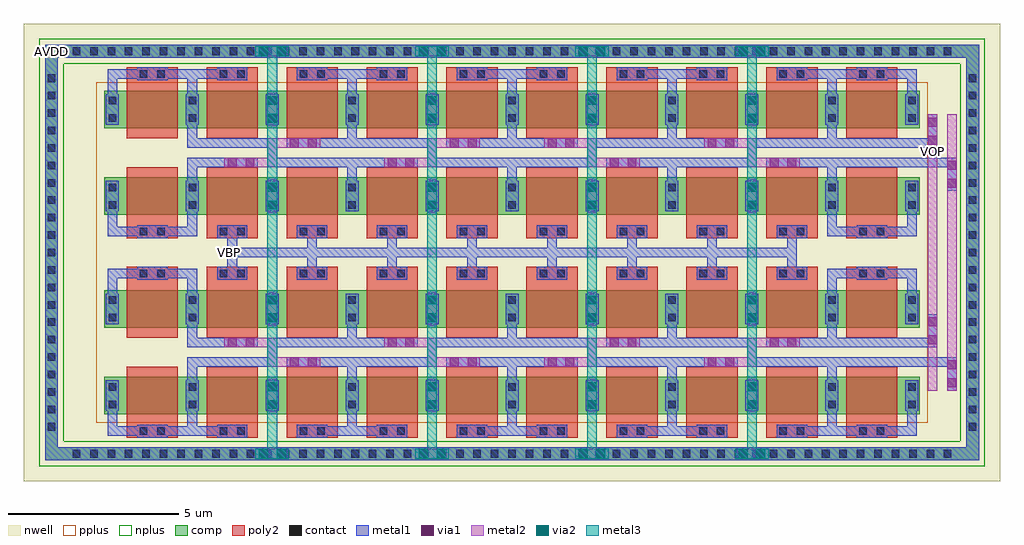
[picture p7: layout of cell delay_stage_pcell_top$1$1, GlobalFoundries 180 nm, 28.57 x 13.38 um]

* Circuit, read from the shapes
.subckt delay_stage_pcell_top$1$1 AVDD VBP VON VOP
XM1 VON VON VON AVDD pfet_03v3 w=1.1u l=1.5u m=4
XM2 VOP VOP VOP AVDD pfet_03v3 w=1.1u l=1.5u m=4
XM3 AVDD VON VON AVDD pfet_03v3 w=1.1u l=1.5u m=8
XM4 AVDD VBP VOP AVDD pfet_03v3 w=1.1u l=1.5u m=8
XM5 AVDD VBP VON AVDD pfet_03v3 w=1.1u l=1.5u m=8
XM6 AVDD VOP VOP AVDD pfet_03v3 w=1.1u l=1.5u m=8
.ends

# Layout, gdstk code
from math import pi, radians
import gdstk
lib = gdstk.Library(unit=1e-6, precision=5e-09)
def R(c, l, rs):  # rectangles x0, y0, x1, y1
    for r in rs: c.add(gdstk.rectangle(r[:2], r[2:], *l))
def A(c, l, x, y, w, h, nx, ny, dx, dy):  # array of equal rectangles
    R(c, l, [(x+i*dx, y+j*dy, x+i*dx+w, y+j*dy+h) for i in range(nx) for j in range(ny)])
nwell = (21, 0)
comp = (22, 0)
poly2 = (30, 0)
pplus = (31, 0)
nplus = (32, 0)
contact = (33, 0)
metal1 = (34, 0)
via1 = (35, 0)
metal2 = (36, 0)
via2 = (38, 0)
metal3 = (42, 0)

delay_stage_pcell_1_1_1_ = lib.new_cell('delay_stage_pcell_1$1$1$1$1')
R(delay_stage_pcell_1_1_1_, comp, [(0.17,0.3,0.63,1.4), (0.63,0.3,2.51,1.4), (2.51,0.3,2.97,1.4)])
R(delay_stage_pcell_1_1_1_, poly2, [(0.82,0,2.32,1.7)])
R(delay_stage_pcell_1_1_1_, contact, [(0.29,0.485,0.51,0.705), (2.63,0.485,2.85,0.705), (0.29,0.995,0.51,1.215), (2.63,0.995,2.85,1.215)])
R(delay_stage_pcell_1_1_1_, metal1, [(0.21,0.405,0.59,1.295), (2.55,0.405,2.93,1.295)])

delay_stage_pcell_1_4_1_ = lib.new_cell('delay_stage_pcell_1_4$1$1$1')
R(delay_stage_pcell_1_4_1_, poly2, [(0.65,0,2.15,0.38), (0.65,4.62,2.15,5), (0.65,5.84,2.15,6.22), (0.65,10.46,2.15,10.84)])
R(delay_stage_pcell_1_4_1_, contact, [(1.035,0.08,1.255,0.3), (1.545,0.08,1.765,0.3), (1.035,4.7,1.255,4.92), (1.545,4.7,1.765,4.92), (1.035,5.92,1.255,6.14), (1.545,5.92,1.765,6.14), (1.035,10.54,1.255,10.76), (1.545,10.54,1.765,10.76)])
R(delay_stage_pcell_1_4_1_, metal1, [(0.955,0,1.845,0.38), (0.955,4.62,1.845,5), (0.955,5.84,1.845,6.22), (0.955,10.46,1.845,10.84)])
delay_stage_pcell_1_4_1_.add(gdstk.FlexPath([(2.57,10.055),(2.57,10.65),(0.23,10.65),(0.23,10.055)], 0.28, ends="flush", simple_path=True, layer=34, datatype=0))  # metal1
delay_stage_pcell_1_4_1_.add(gdstk.FlexPath([(2.57,0.785),(2.57,0.19),(0.23,0.19),(0.23,0.785)], 0.28, ends="flush", simple_path=True, layer=34, datatype=0))  # metal1
delay_stage_pcell_1_4_1_.add(gdstk.FlexPath([(2.57,6.625),(2.57,6.03),(0.23,6.03),(0.23,6.625)], 0.28, ends="flush", simple_path=True, layer=34, datatype=0))  # metal1
delay_stage_pcell_1_4_1_.add(gdstk.FlexPath([(2.57,4.215),(2.57,4.81),(0.23,4.81),(0.23,4.215)], 0.28, ends="flush", simple_path=True, layer=34, datatype=0))  # metal1
delay_stage_pcell_1_4_1_.add(gdstk.Reference(delay_stage_pcell_1_1_1_, (-0.17,6.22)))
delay_stage_pcell_1_4_1_.add(gdstk.Reference(delay_stage_pcell_1_1_1_, (-0.17,0.38)))
delay_stage_pcell_1_4_1_.add(gdstk.Reference(delay_stage_pcell_1_1_1_, (-0.17,2.92)))
delay_stage_pcell_1_4_1_.add(gdstk.Reference(delay_stage_pcell_1_1_1_, (-0.17,8.76)))

delay_stage_pcell_1_2_1_ = lib.new_cell('delay_stage_pcell_1$2$1$1$1$1')
R(delay_stage_pcell_1_2_1_, comp, [(0.17,0.3,0.63,1.4), (0.63,0.3,2.51,1.4), (2.51,0.3,2.97,1.4)])
R(delay_stage_pcell_1_2_1_, poly2, [(0.82,0,2.32,1.7)])
R(delay_stage_pcell_1_2_1_, contact, [(0.29,0.485,0.51,0.705), (2.63,0.485,2.85,0.705), (0.29,0.995,0.51,1.215), (2.63,0.995,2.85,1.215)])
R(delay_stage_pcell_1_2_1_, metal1, [(0.21,0.405,0.59,1.295), (2.55,0.405,2.93,1.295)])

delay_stage_pcell_4_2_1_ = lib.new_cell('delay_stage_pcell_4$2$1$1$1')
delay_stage_pcell_4_2_1_.add(gdstk.Reference(delay_stage_pcell_1_2_1_, (-0.17,0)))
delay_stage_pcell_4_2_1_.add(gdstk.Reference(delay_stage_pcell_1_2_1_, (2.17,0)))
delay_stage_pcell_4_2_1_.add(gdstk.Reference(delay_stage_pcell_1_2_1_, (4.51,0)))
delay_stage_pcell_4_2_1_.add(gdstk.Reference(delay_stage_pcell_1_2_1_, (6.85,0)))

delay_stage_pcell_4_4_1_ = lib.new_cell('delay_stage_pcell_4_4$1$1$1')
R(delay_stage_pcell_4_4_1_, poly2, [(0.65,0,2.15,0.38), (0.65,0,2.15,0.38), (2.99,0,4.49,0.38), (2.99,0,4.49,0.38), (5.33,0,6.83,0.38), (5.33,0,6.83,0.38), (7.67,0,9.17,0.38), (7.67,0,9.17,0.38), (0.65,4.62,2.15,5), (0.65,4.62,2.15,5), (2.99,4.62,4.49,5), (2.99,4.62,4.49,5), (5.33,4.62,6.83,5), (5.33,4.62,6.83,5), (7.67,4.62,9.17,5), (7.67,4.62,9.17,5), (0.65,5.84,2.15,6.22), (0.65,5.84,2.15,6.22), (2.99,5.84,4.49,6.22), (2.99,5.84,4.49,6.22), (5.33,5.84,6.83,6.22), (5.33,5.84,6.83,6.22), (7.67,5.84,9.17,6.22), (7.67,5.84,9.17,6.22), (0.65,10.46,2.15,10.84), (0.65,10.46,2.15,10.84), (2.99,10.46,4.49,10.84), (2.99,10.46,4.49,10.84), (5.33,10.46,6.83,10.84), (5.33,10.46,6.83,10.84), (7.67,10.46,9.17,10.84), (7.67,10.46,9.17,10.84)])
R(delay_stage_pcell_4_4_1_, contact, [(1.035,0.08,1.255,0.3), (1.035,0.08,1.255,0.3), (1.545,0.08,1.765,0.3), (1.545,0.08,1.765,0.3), (3.375,0.08,3.595,0.3), (3.375,0.08,3.595,0.3), (3.885,0.08,4.105,0.3), (3.885,0.08,4.105,0.3), (5.715,0.08,5.935,0.3), (5.715,0.08,5.935,0.3), (6.225,0.08,6.445,0.3), (6.225,0.08,6.445,0.3), (8.055,0.08,8.275,0.3), (8.055,0.08,8.275,0.3), (8.565,0.08,8.785,0.3), (8.565,0.08,8.785,0.3), (1.035,4.7,1.255,4.92), (1.035,4.7,1.255,4.92), (1.545,4.7,1.765,4.92), (1.545,4.7,1.765,4.92), (3.375,4.7,3.595,4.92), (3.375,4.7,3.595,4.92), (3.885,4.7,4.105,4.92), (3.885,4.7,4.105,4.92), (5.715,4.7,5.935,4.92), (5.715,4.7,5.935,4.92), (6.225,4.7,6.445,4.92), (6.225,4.7,6.445,4.92), (8.055,4.7,8.275,4.92), (8.055,4.7,8.275,4.92), (8.565,4.7,8.785,4.92), (8.565,4.7,8.785,4.92), (1.035,5.92,1.255,6.14), (1.035,5.92,1.255,6.14), (1.545,5.92,1.765,6.14), (1.545,5.92,1.765,6.14), (3.375,5.92,3.595,6.14), (3.375,5.92,3.595,6.14), (3.885,5.92,4.105,6.14), (3.885,5.92,4.105,6.14), (5.715,5.92,5.935,6.14), (5.715,5.92,5.935,6.14), (6.225,5.92,6.445,6.14), (6.225,5.92,6.445,6.14), (8.055,5.92,8.275,6.14), (8.055,5.92,8.275,6.14), (8.565,5.92,8.785,6.14), (8.565,5.92,8.785,6.14), (1.035,10.54,1.255,10.76), (1.035,10.54,1.255,10.76), (1.545,10.54,1.765,10.76), (1.545,10.54,1.765,10.76), (3.375,10.54,3.595,10.76), (3.375,10.54,3.595,10.76), (3.885,10.54,4.105,10.76), (3.885,10.54,4.105,10.76), (5.715,10.54,5.935,10.76), (5.715,10.54,5.935,10.76), (6.225,10.54,6.445,10.76), (6.225,10.54,6.445,10.76), (8.055,10.54,8.275,10.76), (8.055,10.54,8.275,10.76), (8.565,10.54,8.785,10.76), (8.565,10.54,8.785,10.76)])
R(delay_stage_pcell_4_4_1_, metal1, [(0.955,0,1.845,0.38), (3.295,0,4.185,0.38), (3.295,0,4.185,0.38), (5.635,0,6.525,0.38), (5.635,0,6.525,0.38), (7.975,0,8.865,0.38), (0.955,4.62,1.845,5), (0.955,4.62,1.845,5), (3.295,4.62,4.185,5), (3.295,4.62,4.185,5), (5.635,4.62,6.525,5), (5.635,4.62,6.525,5), (7.975,4.62,8.865,5), (0.955,5.84,1.845,6.22), (0.955,5.84,1.845,6.22), (3.295,5.84,4.185,6.22), (3.295,5.84,4.185,6.22), (5.635,5.84,6.525,6.22), (5.635,5.84,6.525,6.22), (7.975,5.84,8.865,6.22), (7.975,5.84,8.865,6.22), (0.955,10.46,1.845,10.84), (3.295,10.46,4.185,10.84), (3.295,10.46,4.185,10.84), (5.635,10.46,6.525,10.84), (5.635,10.46,6.525,10.84), (7.975,10.46,8.865,10.84)])
R(delay_stage_pcell_4_4_1_, via1, [(2.44,0.84,2.7,1.1), (7.12,0.84,7.38,1.1), (2.44,1.36,2.7,1.62), (7.12,1.36,7.38,1.62), (1.27,2.09,1.53,2.35), (1.27,2.09,1.53,2.35), (1.79,2.09,2.05,2.35), (1.79,2.09,2.05,2.35), (5.95,2.09,6.21,2.35), (5.95,2.09,6.21,2.35), (6.47,2.09,6.73,2.35), (6.47,2.09,6.73,2.35), (3.09,2.65,3.35,2.91), (3.09,2.65,3.35,2.91), (3.61,2.65,3.87,2.91), (3.61,2.65,3.87,2.91), (7.77,2.65,8.03,2.91), (7.77,2.65,8.03,2.91), (8.29,2.65,8.55,2.91), (8.29,2.65,8.55,2.91), (2.44,3.38,2.7,3.64), (7.12,3.38,7.38,3.64), (2.44,3.9,2.7,4.16), (7.12,3.9,7.38,4.16), (2.44,6.68,2.7,6.94), (7.12,6.68,7.38,6.94), (2.44,7.2,2.7,7.46), (7.12,7.2,7.38,7.46), (3.09,7.93,3.35,8.19), (3.09,7.93,3.35,8.19), (3.61,7.93,3.87,8.19), (3.61,7.93,3.87,8.19), (7.77,7.93,8.03,8.19), (7.77,7.93,8.03,8.19), (8.29,7.93,8.55,8.19), (8.29,7.93,8.55,8.19), (1.27,8.49,1.53,8.75), (1.27,8.49,1.53,8.75), (1.79,8.49,2.05,8.75), (1.79,8.49,2.05,8.75), (5.95,8.49,6.21,8.75), (5.95,8.49,6.21,8.75), (6.47,8.49,6.73,8.75), (6.47,8.49,6.73,8.75), (2.44,9.22,2.7,9.48), (7.12,9.22,7.38,9.48), (2.44,9.74,2.7,10), (7.12,9.74,7.38,10)])
R(delay_stage_pcell_4_4_1_, via2, [(2.44,0.84,2.7,1.1), (7.12,0.84,7.38,1.1), (2.44,1.36,2.7,1.62), (7.12,1.36,7.38,1.62), (2.44,3.38,2.7,3.64), (7.12,3.38,7.38,3.64), (2.44,3.9,2.7,4.16), (7.12,3.9,7.38,4.16), (2.44,6.68,2.7,6.94), (7.12,6.68,7.38,6.94), (2.44,7.2,2.7,7.46), (7.12,7.2,7.38,7.46), (2.44,9.22,2.7,9.48), (7.12,9.22,7.38,9.48), (2.44,9.74,2.7,10), (7.12,9.74,7.38,10)])
delay_stage_pcell_4_4_1_.add(gdstk.FlexPath([(8.56,5.42),(0.23,5.42)], 0.28, ends="flush", simple_path=True, layer=34, datatype=0))  # metal1
delay_stage_pcell_4_4_1_.add(gdstk.FlexPath([(4.185,10.65),(5.635,10.65)], 0.28, ends="flush", simple_path=True, layer=34, datatype=0))  # metal1
delay_stage_pcell_4_4_1_.add(gdstk.FlexPath([(4.91,10.055),(4.91,10.51)], 0.28, ends="flush", simple_path=True, layer=34, datatype=0))  # metal1
delay_stage_pcell_4_4_1_.add(gdstk.FlexPath([(0.955,10.65),(0.23,10.65),(0.23,10.055)], 0.28, ends="flush", simple_path=True, layer=34, datatype=0))  # metal1
delay_stage_pcell_4_4_1_.add(gdstk.FlexPath([(8.865,10.65),(9.59,10.65),(9.59,10.055)], 0.28, ends="flush", simple_path=True, layer=34, datatype=0))  # metal1
delay_stage_pcell_4_4_1_.add(gdstk.FlexPath([(4.185,0.19),(5.635,0.19)], 0.28, ends="flush", simple_path=True, layer=34, datatype=0))  # metal1
delay_stage_pcell_4_4_1_.add(gdstk.FlexPath([(4.91,0.785),(4.91,0.33)], 0.28, ends="flush", simple_path=True, layer=34, datatype=0))  # metal1
delay_stage_pcell_4_4_1_.add(gdstk.FlexPath([(0.955,0.19),(0.23,0.19),(0.23,0.785)], 0.28, ends="flush", simple_path=True, layer=34, datatype=0))  # metal1
delay_stage_pcell_4_4_1_.add(gdstk.FlexPath([(8.865,0.19),(9.59,0.19),(9.59,0.785)], 0.28, ends="flush", simple_path=True, layer=34, datatype=0))  # metal1
delay_stage_pcell_4_4_1_.add(gdstk.FlexPath([(9.59,1.675),(9.59,2.22),(8.65,2.22)], 0.28, ends="flush", simple_path=True, layer=34, datatype=0))  # metal1
delay_stage_pcell_4_4_1_.add(gdstk.FlexPath([(9.59,1.675),(9.59,2.22),(8.65,2.22)], 0.28, ends="flush", simple_path=True, layer=34, datatype=0))  # metal1
delay_stage_pcell_4_4_1_.add(gdstk.FlexPath([(4.91,1.675),(4.91,2.08)], 0.28, ends="flush", simple_path=True, layer=34, datatype=0))  # metal1
delay_stage_pcell_4_4_1_.add(gdstk.FlexPath([(4.91,1.675),(4.91,2.08)], 0.28, ends="flush", simple_path=True, layer=34, datatype=0))  # metal1
delay_stage_pcell_4_4_1_.add(gdstk.FlexPath([(0.23,1.675),(0.23,2.22),(1.17,2.22)], 0.28, ends="flush", simple_path=True, layer=34, datatype=0))  # metal1
delay_stage_pcell_4_4_1_.add(gdstk.FlexPath([(0.23,1.675),(0.23,2.22),(1.17,2.22)], 0.28, ends="flush", simple_path=True, layer=34, datatype=0))  # metal1
delay_stage_pcell_4_4_1_.add(gdstk.FlexPath([(8.65,2.22),(7.25,2.22),(7.25,2.78),(5.85,2.78)], 0.28, ends="flush", simple_path=True, layer=34, datatype=0))  # metal1
delay_stage_pcell_4_4_1_.add(gdstk.FlexPath([(8.65,2.22),(7.25,2.22),(7.25,2.78),(5.85,2.78)], 0.28, ends="flush", simple_path=True, layer=34, datatype=0))  # metal1
delay_stage_pcell_4_4_1_.add(gdstk.FlexPath([(6.83,2.22),(5.85,2.22)], 0.28, ends="flush", simple_path=True, layer=34, datatype=0))  # metal1
delay_stage_pcell_4_4_1_.add(gdstk.FlexPath([(6.83,2.22),(5.85,2.22)], 0.28, ends="flush", simple_path=True, layer=34, datatype=0))  # metal1
delay_stage_pcell_4_4_1_.add(gdstk.FlexPath([(3.97,2.22),(5.85,2.22)], 0.28, ends="flush", simple_path=True, layer=34, datatype=0))  # metal1
delay_stage_pcell_4_4_1_.add(gdstk.FlexPath([(3.97,2.22),(5.85,2.22)], 0.28, ends="flush", simple_path=True, layer=34, datatype=0))  # metal1
delay_stage_pcell_4_4_1_.add(gdstk.FlexPath([(3.97,2.22),(2.57,2.22),(2.57,2.78),(1.17,2.78)], 0.28, ends="flush", simple_path=True, layer=34, datatype=0))  # metal1
delay_stage_pcell_4_4_1_.add(gdstk.FlexPath([(3.97,2.22),(2.57,2.22),(2.57,2.78),(1.17,2.78)], 0.28, ends="flush", simple_path=True, layer=34, datatype=0))  # metal1
delay_stage_pcell_4_4_1_.add(gdstk.FlexPath([(2.15,2.22),(1.17,2.22)], 0.28, ends="flush", simple_path=True, layer=34, datatype=0))  # metal1
delay_stage_pcell_4_4_1_.add(gdstk.FlexPath([(2.15,2.22),(1.17,2.22)], 0.28, ends="flush", simple_path=True, layer=34, datatype=0))  # metal1
delay_stage_pcell_4_4_1_.add(gdstk.FlexPath([(8.65,2.78),(7.67,2.78)], 0.28, ends="flush", simple_path=True, layer=34, datatype=0))  # metal1
delay_stage_pcell_4_4_1_.add(gdstk.FlexPath([(8.65,2.78),(7.67,2.78)], 0.28, ends="flush", simple_path=True, layer=34, datatype=0))  # metal1
delay_stage_pcell_4_4_1_.add(gdstk.FlexPath([(3.97,2.78),(5.85,2.78)], 0.28, ends="flush", simple_path=True, layer=34, datatype=0))  # metal1
delay_stage_pcell_4_4_1_.add(gdstk.FlexPath([(3.97,2.78),(5.85,2.78)], 0.28, ends="flush", simple_path=True, layer=34, datatype=0))  # metal1
delay_stage_pcell_4_4_1_.add(gdstk.FlexPath([(3.97,2.78),(2.99,2.78)], 0.28, ends="flush", simple_path=True, layer=34, datatype=0))  # metal1
delay_stage_pcell_4_4_1_.add(gdstk.FlexPath([(3.97,2.78),(2.99,2.78)], 0.28, ends="flush", simple_path=True, layer=34, datatype=0))  # metal1
delay_stage_pcell_4_4_1_.add(gdstk.FlexPath([(1.17,2.78),(0.23,2.78),(0.23,3.325)], 0.28, ends="flush", simple_path=True, layer=34, datatype=0))  # metal1
delay_stage_pcell_4_4_1_.add(gdstk.FlexPath([(1.17,2.78),(0.23,2.78),(0.23,3.325)], 0.28, ends="flush", simple_path=True, layer=34, datatype=0))  # metal1
delay_stage_pcell_4_4_1_.add(gdstk.FlexPath([(9.59,3.325),(9.59,2.78),(8.65,2.78)], 0.28, ends="flush", simple_path=True, layer=34, datatype=0))  # metal1
delay_stage_pcell_4_4_1_.add(gdstk.FlexPath([(9.59,3.325),(9.59,2.78),(8.65,2.78)], 0.28, ends="flush", simple_path=True, layer=34, datatype=0))  # metal1
delay_stage_pcell_4_4_1_.add(gdstk.FlexPath([(4.91,3.325),(4.91,2.92)], 0.28, ends="flush", simple_path=True, layer=34, datatype=0))  # metal1
delay_stage_pcell_4_4_1_.add(gdstk.FlexPath([(4.91,3.325),(4.91,2.92)], 0.28, ends="flush", simple_path=True, layer=34, datatype=0))  # metal1
delay_stage_pcell_4_4_1_.add(gdstk.FlexPath([(9.59,7.515),(9.59,8.06),(8.65,8.06)], 0.28, ends="flush", simple_path=True, layer=34, datatype=0))  # metal1
delay_stage_pcell_4_4_1_.add(gdstk.FlexPath([(9.59,9.165),(9.59,8.62),(8.65,8.62)], 0.28, ends="flush", simple_path=True, layer=34, datatype=0))  # metal1
delay_stage_pcell_4_4_1_.add(gdstk.FlexPath([(4.91,9.165),(4.91,8.76)], 0.28, ends="flush", simple_path=True, layer=34, datatype=0))  # metal1
delay_stage_pcell_4_4_1_.add(gdstk.FlexPath([(4.91,7.515),(4.91,7.92)], 0.28, ends="flush", simple_path=True, layer=34, datatype=0))  # metal1
delay_stage_pcell_4_4_1_.add(gdstk.FlexPath([(1.17,8.06),(0.23,8.06),(0.23,7.515)], 0.28, ends="flush", simple_path=True, layer=34, datatype=0))  # metal1
delay_stage_pcell_4_4_1_.add(gdstk.FlexPath([(0.23,9.165),(0.23,8.62),(1.17,8.62)], 0.28, ends="flush", simple_path=True, layer=34, datatype=0))  # metal1
delay_stage_pcell_4_4_1_.add(gdstk.FlexPath([(8.65,8.62),(7.25,8.62),(7.25,8.06),(5.85,8.06)], 0.28, ends="flush", simple_path=True, layer=34, datatype=0))  # metal1
delay_stage_pcell_4_4_1_.add(gdstk.FlexPath([(3.97,8.62),(2.57,8.62),(2.57,8.06),(1.17,8.06)], 0.28, ends="flush", simple_path=True, layer=34, datatype=0))  # metal1
delay_stage_pcell_4_4_1_.add(gdstk.FlexPath([(2.15,8.62),(1.17,8.62)], 0.28, ends="flush", simple_path=True, layer=34, datatype=0))  # metal1
delay_stage_pcell_4_4_1_.add(gdstk.FlexPath([(3.97,8.06),(2.99,8.06)], 0.28, ends="flush", simple_path=True, layer=34, datatype=0))  # metal1
delay_stage_pcell_4_4_1_.add(gdstk.FlexPath([(8.65,8.06),(7.67,8.06)], 0.28, ends="flush", simple_path=True, layer=34, datatype=0))  # metal1
delay_stage_pcell_4_4_1_.add(gdstk.FlexPath([(6.83,8.62),(5.85,8.62)], 0.28, ends="flush", simple_path=True, layer=34, datatype=0))  # metal1
delay_stage_pcell_4_4_1_.add(gdstk.FlexPath([(3.97,8.62),(5.85,8.62)], 0.28, ends="flush", simple_path=True, layer=34, datatype=0))  # metal1
delay_stage_pcell_4_4_1_.add(gdstk.FlexPath([(3.97,8.06),(5.85,8.06)], 0.28, ends="flush", simple_path=True, layer=34, datatype=0))  # metal1
delay_stage_pcell_4_4_1_.add(gdstk.FlexPath([(3.97,8.06),(5.85,8.06)], 0.28, ends="flush", simple_path=True, layer=34, datatype=0))  # metal1
delay_stage_pcell_4_4_1_.add(gdstk.FlexPath([(3.97,8.62),(5.85,8.62)], 0.28, ends="flush", simple_path=True, layer=34, datatype=0))  # metal1
delay_stage_pcell_4_4_1_.add(gdstk.FlexPath([(6.83,8.62),(5.85,8.62)], 0.28, ends="flush", simple_path=True, layer=34, datatype=0))  # metal1
delay_stage_pcell_4_4_1_.add(gdstk.FlexPath([(8.65,8.06),(7.67,8.06)], 0.28, ends="flush", simple_path=True, layer=34, datatype=0))  # metal1
delay_stage_pcell_4_4_1_.add(gdstk.FlexPath([(3.97,8.06),(2.99,8.06)], 0.28, ends="flush", simple_path=True, layer=34, datatype=0))  # metal1
delay_stage_pcell_4_4_1_.add(gdstk.FlexPath([(2.15,8.62),(1.17,8.62)], 0.28, ends="flush", simple_path=True, layer=34, datatype=0))  # metal1
delay_stage_pcell_4_4_1_.add(gdstk.FlexPath([(3.97,8.62),(2.57,8.62),(2.57,8.06),(1.17,8.06)], 0.28, ends="flush", simple_path=True, layer=34, datatype=0))  # metal1
delay_stage_pcell_4_4_1_.add(gdstk.FlexPath([(8.65,8.62),(7.25,8.62),(7.25,8.06),(5.85,8.06)], 0.28, ends="flush", simple_path=True, layer=34, datatype=0))  # metal1
delay_stage_pcell_4_4_1_.add(gdstk.FlexPath([(0.23,9.165),(0.23,8.62),(1.17,8.62)], 0.28, ends="flush", simple_path=True, layer=34, datatype=0))  # metal1
delay_stage_pcell_4_4_1_.add(gdstk.FlexPath([(1.17,8.06),(0.23,8.06),(0.23,7.515)], 0.28, ends="flush", simple_path=True, layer=34, datatype=0))  # metal1
delay_stage_pcell_4_4_1_.add(gdstk.FlexPath([(4.91,7.515),(4.91,7.92)], 0.28, ends="flush", simple_path=True, layer=34, datatype=0))  # metal1
delay_stage_pcell_4_4_1_.add(gdstk.FlexPath([(4.91,9.165),(4.91,8.76)], 0.28, ends="flush", simple_path=True, layer=34, datatype=0))  # metal1
delay_stage_pcell_4_4_1_.add(gdstk.FlexPath([(9.59,9.165),(9.59,8.62),(8.65,8.62)], 0.28, ends="flush", simple_path=True, layer=34, datatype=0))  # metal1
delay_stage_pcell_4_4_1_.add(gdstk.FlexPath([(9.59,7.515),(9.59,8.06),(8.65,8.06)], 0.28, ends="flush", simple_path=True, layer=34, datatype=0))  # metal1
delay_stage_pcell_4_4_1_.add(gdstk.FlexPath([(8.42,5),(8.42,5.28)], 0.28, ends="flush", simple_path=True, layer=34, datatype=0))  # metal1
delay_stage_pcell_4_4_1_.add(gdstk.FlexPath([(8.42,5.84),(8.42,5.56)], 0.28, ends="flush", simple_path=True, layer=34, datatype=0))  # metal1
delay_stage_pcell_4_4_1_.add(gdstk.FlexPath([(6.08,5),(6.08,5.28)], 0.28, ends="flush", simple_path=True, layer=34, datatype=0))  # metal1
delay_stage_pcell_4_4_1_.add(gdstk.FlexPath([(6.08,5.84),(6.08,5.56)], 0.28, ends="flush", simple_path=True, layer=34, datatype=0))  # metal1
delay_stage_pcell_4_4_1_.add(gdstk.FlexPath([(3.74,5),(3.74,5.28)], 0.28, ends="flush", simple_path=True, layer=34, datatype=0))  # metal1
delay_stage_pcell_4_4_1_.add(gdstk.FlexPath([(3.74,5.84),(3.74,5.56)], 0.28, ends="flush", simple_path=True, layer=34, datatype=0))  # metal1
delay_stage_pcell_4_4_1_.add(gdstk.FlexPath([(1.4,5),(1.4,5.28)], 0.28, ends="flush", simple_path=True, layer=34, datatype=0))  # metal1
delay_stage_pcell_4_4_1_.add(gdstk.FlexPath([(1.4,5.84),(1.4,5.56)], 0.28, ends="flush", simple_path=True, layer=34, datatype=0))  # metal1
delay_stage_pcell_4_4_1_.add(gdstk.FlexPath([(8.65,2.78),(7.25,2.78),(7.25,2.22),(5.85,2.22)], 0.28, ends="flush", simple_path=True, layer=36, datatype=0))  # metal2
delay_stage_pcell_4_4_1_.add(gdstk.FlexPath([(8.65,2.78),(7.25,2.78),(7.25,2.22),(5.85,2.22)], 0.28, ends="flush", simple_path=True, layer=36, datatype=0))  # metal2
delay_stage_pcell_4_4_1_.add(gdstk.FlexPath([(3.97,2.78),(2.57,2.78),(2.57,2.22),(1.17,2.22)], 0.28, ends="flush", simple_path=True, layer=36, datatype=0))  # metal2
delay_stage_pcell_4_4_1_.add(gdstk.FlexPath([(3.97,2.78),(2.57,2.78),(2.57,2.22),(1.17,2.22)], 0.28, ends="flush", simple_path=True, layer=36, datatype=0))  # metal2
delay_stage_pcell_4_4_1_.add(gdstk.FlexPath([(3.97,8.06),(2.57,8.06),(2.57,8.62),(1.17,8.62)], 0.28, ends="flush", simple_path=True, layer=36, datatype=0))  # metal2
delay_stage_pcell_4_4_1_.add(gdstk.FlexPath([(8.65,8.06),(7.25,8.06),(7.25,8.62),(5.85,8.62)], 0.28, ends="flush", simple_path=True, layer=36, datatype=0))  # metal2
delay_stage_pcell_4_4_1_.add(gdstk.FlexPath([(8.65,8.06),(7.25,8.06),(7.25,8.62),(5.85,8.62)], 0.28, ends="flush", simple_path=True, layer=36, datatype=0))  # metal2
delay_stage_pcell_4_4_1_.add(gdstk.FlexPath([(3.97,8.06),(2.57,8.06),(2.57,8.62),(1.17,8.62)], 0.28, ends="flush", simple_path=True, layer=36, datatype=0))  # metal2
delay_stage_pcell_4_4_1_.add(gdstk.FlexPath([(7.25,6.58),(7.25,7.56)], 0.28, ends="flush", simple_path=True, layer=36, datatype=0))  # metal2
delay_stage_pcell_4_4_1_.add(gdstk.FlexPath([(7.25,9.12),(7.25,10.1)], 0.28, ends="flush", simple_path=True, layer=36, datatype=0))  # metal2
delay_stage_pcell_4_4_1_.add(gdstk.FlexPath([(2.57,6.58),(2.57,7.56)], 0.28, ends="flush", simple_path=True, layer=36, datatype=0))  # metal2
delay_stage_pcell_4_4_1_.add(gdstk.FlexPath([(7.25,3.28),(7.25,4.26)], 0.28, ends="flush", simple_path=True, layer=36, datatype=0))  # metal2
delay_stage_pcell_4_4_1_.add(gdstk.FlexPath([(2.57,3.28),(2.57,4.26)], 0.28, ends="flush", simple_path=True, layer=36, datatype=0))  # metal2
delay_stage_pcell_4_4_1_.add(gdstk.FlexPath([(7.25,0.74),(7.25,1.72)], 0.28, ends="flush", simple_path=True, layer=36, datatype=0))  # metal2
delay_stage_pcell_4_4_1_.add(gdstk.FlexPath([(2.57,0.74),(2.57,1.72)], 0.28, ends="flush", simple_path=True, layer=36, datatype=0))  # metal2
delay_stage_pcell_4_4_1_.add(gdstk.FlexPath([(2.57,9.12),(2.57,10.1)], 0.28, ends="flush", simple_path=True, layer=36, datatype=0))  # metal2
delay_stage_pcell_4_4_1_.add(gdstk.FlexPath([(7.25,6.58),(7.25,7.56)], 0.28, ends="flush", simple_path=True, layer=42, datatype=0))  # metal3
delay_stage_pcell_4_4_1_.add(gdstk.FlexPath([(7.25,9.12),(7.25,10.1)], 0.28, ends="flush", simple_path=True, layer=42, datatype=0))  # metal3
delay_stage_pcell_4_4_1_.add(gdstk.FlexPath([(2.57,6.58),(2.57,7.56)], 0.28, ends="flush", simple_path=True, layer=42, datatype=0))  # metal3
delay_stage_pcell_4_4_1_.add(gdstk.FlexPath([(7.25,3.28),(7.25,4.26)], 0.28, ends="flush", simple_path=True, layer=42, datatype=0))  # metal3
delay_stage_pcell_4_4_1_.add(gdstk.FlexPath([(2.57,3.28),(2.57,4.26)], 0.28, ends="flush", simple_path=True, layer=42, datatype=0))  # metal3
delay_stage_pcell_4_4_1_.add(gdstk.FlexPath([(7.25,0.74),(7.25,1.72)], 0.28, ends="flush", simple_path=True, layer=42, datatype=0))  # metal3
delay_stage_pcell_4_4_1_.add(gdstk.FlexPath([(2.57,0.74),(2.57,1.72)], 0.28, ends="flush", simple_path=True, layer=42, datatype=0))  # metal3
delay_stage_pcell_4_4_1_.add(gdstk.FlexPath([(2.57,9.12),(2.57,10.1)], 0.28, ends="flush", simple_path=True, layer=42, datatype=0))  # metal3
delay_stage_pcell_4_4_1_.add(gdstk.Reference(delay_stage_pcell_4_2_1_, (9.82,7.92), rotation=pi))
delay_stage_pcell_4_4_1_.add(gdstk.Reference(delay_stage_pcell_4_2_1_, (9.82,2.08), rotation=pi))
delay_stage_pcell_4_4_1_.add(gdstk.Reference(delay_stage_pcell_4_2_1_, (9.82,8.76), rotation=pi, x_reflection=True))
delay_stage_pcell_4_4_1_.add(gdstk.Reference(delay_stage_pcell_4_2_1_, (9.82,2.92), rotation=pi, x_reflection=True))

delay_stage_pcell_top_1_ = lib.new_cell('delay_stage_pcell_top$1$1')
R(delay_stage_pcell_top_1_, nwell, [(0,0,28.565,13.38)])
R(delay_stage_pcell_top_1_, pplus, [(2.115,1.71,26.455,11.675)])
A(delay_stage_pcell_top_1_, contact, 1.425, 0.69, 0.22, 0.22, 51, 2, 0.51, 11.78)
A(delay_stage_pcell_top_1_, contact, 0.695, 1.48, 0.22, 0.22, 1, 21, 0, 0.51)
A(delay_stage_pcell_top_1_, contact, 27.655, 1.48, 0.22, 0.22, 1, 21, 0, 0.51)
R(delay_stage_pcell_top_1_, via1, [(6.875,0.67,7.135,0.93), (7.395,0.67,7.655,0.93), (11.555,0.67,11.815,0.93), (12.075,0.67,12.335,0.93), (16.235,0.67,16.495,0.93), (16.755,0.67,17.015,0.93), (20.915,0.67,21.175,0.93), (21.435,0.67,21.695,0.93), (27.025,2.75,27.285,3.01), (27.025,2.75,27.285,3.01), (27.025,3.27,27.285,3.53), (27.025,3.27,27.285,3.53), (26.465,4.01,26.725,4.27), (26.465,4.01,26.725,4.27), (26.465,4.53,26.725,4.79), (26.465,4.53,26.725,4.79), (27.025,8.59,27.285,8.85), (27.025,8.59,27.285,8.85), (27.025,9.11,27.285,9.37), (27.025,9.11,27.285,9.37), (26.465,9.85,26.725,10.11), (26.465,9.85,26.725,10.11), (26.465,10.37,26.725,10.63), (26.465,10.37,26.725,10.63), (6.875,12.45,7.135,12.71), (7.395,12.45,7.655,12.71), (11.555,12.45,11.815,12.71), (12.075,12.45,12.335,12.71), (16.235,12.45,16.495,12.71), (16.755,12.45,17.015,12.71), (20.915,12.45,21.175,12.71), (21.435,12.45,21.695,12.71)])
R(delay_stage_pcell_top_1_, via2, [(6.875,0.67,7.135,0.93), (7.395,0.67,7.655,0.93), (11.555,0.67,11.815,0.93), (12.075,0.67,12.335,0.93), (16.235,0.67,16.495,0.93), (16.755,0.67,17.015,0.93), (20.915,0.67,21.175,0.93), (21.435,0.67,21.695,0.93), (6.875,12.45,7.135,12.71), (7.395,12.45,7.655,12.71), (11.555,12.45,11.815,12.71), (12.075,12.45,12.335,12.71), (16.235,12.45,16.495,12.71), (16.755,12.45,17.015,12.71), (20.915,12.45,21.175,12.71), (21.435,12.45,21.695,12.71)])
delay_stage_pcell_top_1_.add(gdstk.FlexPath([(27.765,12.77),(27.765,0.8),(0.805,0.8),(0.805,12.58),(27.575,12.58)], 0.38, ends="flush", simple_path=True, layer=34, datatype=0))  # metal1
delay_stage_pcell_top_1_.add(gdstk.FlexPath([(23.785,4.05),(26.735,4.05)], 0.28, ends="flush", simple_path=True, layer=34, datatype=0))  # metal1
delay_stage_pcell_top_1_.add(gdstk.FlexPath([(23.785,3.49),(27.295,3.49)], 0.28, ends="flush", simple_path=True, layer=34, datatype=0))  # metal1
delay_stage_pcell_top_1_.add(gdstk.FlexPath([(27.155,2.65),(27.155,3.63)], 0.28, ends="flush", simple_path=True, layer=34, datatype=0))  # metal1
delay_stage_pcell_top_1_.add(gdstk.FlexPath([(27.155,2.65),(27.155,3.63)], 0.28, ends="flush", simple_path=True, layer=34, datatype=0))  # metal1
delay_stage_pcell_top_1_.add(gdstk.FlexPath([(26.595,3.91),(26.595,4.89)], 0.28, ends="flush", simple_path=True, layer=34, datatype=0))  # metal1
delay_stage_pcell_top_1_.add(gdstk.FlexPath([(26.595,3.91),(26.595,4.89)], 0.28, ends="flush", simple_path=True, layer=34, datatype=0))  # metal1
delay_stage_pcell_top_1_.add(gdstk.FlexPath([(23.785,9.89),(26.735,9.89)], 0.28, ends="flush", simple_path=True, layer=34, datatype=0))  # metal1
delay_stage_pcell_top_1_.add(gdstk.FlexPath([(23.785,9.33),(27.295,9.33)], 0.28, ends="flush", simple_path=True, layer=34, datatype=0))  # metal1
delay_stage_pcell_top_1_.add(gdstk.FlexPath([(26.595,10.73),(26.595,9.75)], 0.28, ends="flush", simple_path=True, layer=34, datatype=0))  # metal1
delay_stage_pcell_top_1_.add(gdstk.FlexPath([(26.595,10.73),(26.595,9.75)], 0.28, ends="flush", simple_path=True, layer=34, datatype=0))  # metal1
delay_stage_pcell_top_1_.add(gdstk.FlexPath([(27.155,9.47),(27.155,8.49)], 0.28, ends="flush", simple_path=True, layer=34, datatype=0))  # metal1
delay_stage_pcell_top_1_.add(gdstk.FlexPath([(27.155,9.47),(27.155,8.49)], 0.28, ends="flush", simple_path=True, layer=34, datatype=0))  # metal1
delay_stage_pcell_top_1_.add(gdstk.FlexPath([(27.765,12.77),(27.765,0.8),(0.805,0.8),(0.805,12.58),(27.575,12.58)], 0.38, ends="flush", simple_path=True, layer=22, datatype=0))  # comp
delay_stage_pcell_top_1_.add(gdstk.FlexPath([(26.595,2.65),(26.595,10.73)], 0.28, ends="flush", simple_path=True, layer=36, datatype=0))  # metal2
delay_stage_pcell_top_1_.add(gdstk.FlexPath([(20.815,0.8),(21.795,0.8)], 0.28, ends="flush", simple_path=True, layer=36, datatype=0))  # metal2
delay_stage_pcell_top_1_.add(gdstk.FlexPath([(27.155,2.65),(27.155,10.73)], 0.28, ends="flush", simple_path=True, layer=36, datatype=0))  # metal2
delay_stage_pcell_top_1_.add(gdstk.FlexPath([(20.815,12.58),(21.795,12.58)], 0.28, ends="flush", simple_path=True, layer=36, datatype=0))  # metal2
delay_stage_pcell_top_1_.add(gdstk.FlexPath([(16.135,0.8),(17.115,0.8)], 0.28, ends="flush", simple_path=True, layer=36, datatype=0))  # metal2
delay_stage_pcell_top_1_.add(gdstk.FlexPath([(16.135,12.58),(17.115,12.58)], 0.28, ends="flush", simple_path=True, layer=36, datatype=0))  # metal2
delay_stage_pcell_top_1_.add(gdstk.FlexPath([(11.455,0.8),(12.435,0.8)], 0.28, ends="flush", simple_path=True, layer=36, datatype=0))  # metal2
delay_stage_pcell_top_1_.add(gdstk.FlexPath([(11.455,12.58),(12.435,12.58)], 0.28, ends="flush", simple_path=True, layer=36, datatype=0))  # metal2
delay_stage_pcell_top_1_.add(gdstk.FlexPath([(6.775,0.8),(7.755,0.8)], 0.28, ends="flush", simple_path=True, layer=36, datatype=0))  # metal2
delay_stage_pcell_top_1_.add(gdstk.FlexPath([(6.775,12.58),(7.755,12.58)], 0.28, ends="flush", simple_path=True, layer=36, datatype=0))  # metal2
delay_stage_pcell_top_1_.add(gdstk.FlexPath([(21.305,12.44),(21.305,0.94)], 0.28, ends="flush", simple_path=True, layer=42, datatype=0))  # metal3
delay_stage_pcell_top_1_.add(gdstk.FlexPath([(20.815,0.8),(21.795,0.8)], 0.28, ends="flush", simple_path=True, layer=42, datatype=0))  # metal3
delay_stage_pcell_top_1_.add(gdstk.FlexPath([(20.815,12.58),(21.795,12.58)], 0.28, ends="flush", simple_path=True, layer=42, datatype=0))  # metal3
delay_stage_pcell_top_1_.add(gdstk.FlexPath([(16.625,12.44),(16.625,0.94)], 0.28, ends="flush", simple_path=True, layer=42, datatype=0))  # metal3
delay_stage_pcell_top_1_.add(gdstk.FlexPath([(16.135,0.8),(17.115,0.8)], 0.28, ends="flush", simple_path=True, layer=42, datatype=0))  # metal3
delay_stage_pcell_top_1_.add(gdstk.FlexPath([(16.135,12.58),(17.115,12.58)], 0.28, ends="flush", simple_path=True, layer=42, datatype=0))  # metal3
delay_stage_pcell_top_1_.add(gdstk.FlexPath([(11.945,12.44),(11.945,0.94)], 0.28, ends="flush", simple_path=True, layer=42, datatype=0))  # metal3
delay_stage_pcell_top_1_.add(gdstk.FlexPath([(11.455,0.8),(12.435,0.8)], 0.28, ends="flush", simple_path=True, layer=42, datatype=0))  # metal3
delay_stage_pcell_top_1_.add(gdstk.FlexPath([(11.455,12.58),(12.435,12.58)], 0.28, ends="flush", simple_path=True, layer=42, datatype=0))  # metal3
delay_stage_pcell_top_1_.add(gdstk.FlexPath([(7.265,12.44),(7.265,0.94)], 0.28, ends="flush", simple_path=True, layer=42, datatype=0))  # metal3
delay_stage_pcell_top_1_.add(gdstk.FlexPath([(6.775,0.8),(7.755,0.8)], 0.28, ends="flush", simple_path=True, layer=42, datatype=0))  # metal3
delay_stage_pcell_top_1_.add(gdstk.FlexPath([(6.775,12.58),(7.755,12.58)], 0.28, ends="flush", simple_path=True, layer=42, datatype=0))  # metal3
delay_stage_pcell_top_1_.add(gdstk.FlexPath([(27.765,12.94),(27.765,0.8),(0.805,0.8),(0.805,12.58),(27.575,12.58)], 0.72, ends="flush", simple_path=True, layer=32, datatype=0))  # nplus
delay_stage_pcell_top_1_.add(gdstk.Reference(delay_stage_pcell_1_4_1_, (26.215,1.27), rotation=pi, x_reflection=True))
delay_stage_pcell_top_1_.add(gdstk.Reference(delay_stage_pcell_1_4_1_, (5.155,1.27), rotation=pi, x_reflection=True))
delay_stage_pcell_top_1_.add(gdstk.Reference(delay_stage_pcell_4_4_1_, (14.055,1.27)))
delay_stage_pcell_top_1_.add(gdstk.Reference(delay_stage_pcell_4_4_1_, (14.515,1.27), rotation=pi, x_reflection=True))
delay_stage_pcell_top_1_.add(gdstk.Label('AVDD', (0.805,12.58), layer=34, texttype=10))
delay_stage_pcell_top_1_.add(gdstk.Label('VBP', (6.005,6.69), layer=34, texttype=10))
delay_stage_pcell_top_1_.add(gdstk.Label('VOP', (26.595,9.64), layer=36, texttype=10))
delay_stage_pcell_top_1_.add(gdstk.Label('VON', (27.155,9.68), layer=36, texttype=10))

lib.write_gds('delay_stage_pcell_top_1_1.gds')
